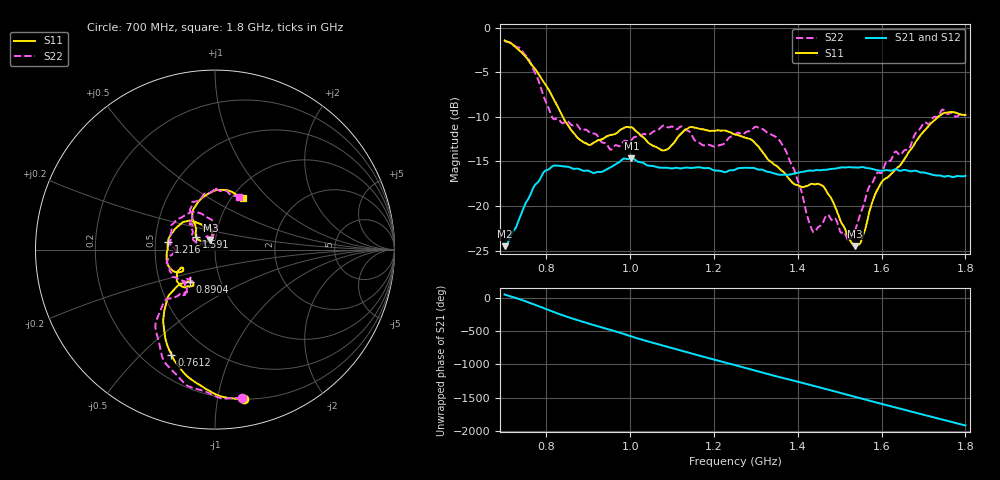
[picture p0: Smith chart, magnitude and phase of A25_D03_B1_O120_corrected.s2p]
! Created with skrf 1.9.0 (http://scikit-rf.org).
# Hz S RI R 50.0
!freq ReS11 ImS11 ReS21 ImS21 ReS12 ImS12 ReS22 ImS22
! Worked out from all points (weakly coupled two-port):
!   1601 points, 700 MHz to 1.8 GHz, reference 50 ohm
!   highest |S21| = -14.63 dB at 1.002 GHz (marker M1); lowest = -24.5 dB at 701.4 MHz (marker M2)
!   lowest |S11| = -24.5 dB at 1.537 GHz (marker M3), VSWR 1.13, Z = 47.2 + j5.08 ohm
!   |S11| at or under -10 dB: 838.8 MHz to 1.735 GHz (896.2 MHz wide, 69.6 % of centre)
!   |S22| runs from -23.9 to -1.5 dB; largest |S21 - S12| = 0.0035
!   S11 on the Smith chart (normalised r, x): 700 MHz: 0.20, -1.19; 761.2 MHz: 0.32, -0.62; 890.4 MHz: 0.71, -0.27; 1.216 GHz: 0.58, +0.05; 1.591 GHz: 0.80, +0.11; 1.8 GHz: 1.12, +0.72
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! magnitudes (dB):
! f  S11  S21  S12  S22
! 700 MHz  -1.4  -24.5  -24.3  -1.5
! 701.4 MHz  -1.5  -24.5  -24.1  -1.5
! 761.2 MHz  -3.9  -18.8  -18.7  -3.9
! 814.8 MHz  -7.8  -15.5  -15.6  -10.1
! 883.6 MHz  -12.7  -16.0  -15.9  -11.5
! 890.4 MHz  -12.9  -16.1  -16.0  -11.4
! 953 MHz  -12.0  -15.7  -15.7  -13.7
! 1.002 GHz  -11.2  -14.6  -14.7  -12.6
! 1.067 GHz  -13.5  -15.7  -15.6  -11.4
! 1.143 GHz  -11.1  -15.7  -15.7  -11.7
! 1.216 GHz  -11.5  -16.1  -16.1  -13.1
! 1.25 GHz  -12.0  -15.9  -15.9  -12.0
! 1.355 GHz  -15.8  -16.5  -16.4  -12.6
! 1.393 GHz  -17.6  -16.4  -16.3  -16.2
! 1.434 GHz  -17.5  -16.1  -16.0  -22.7
! 1.464 GHz  -18.0  -15.9  -15.9  -21.4
! 1.522 GHz  -23.6  -15.6  -15.7  -23.9
! 1.537 GHz  -24.5  -15.7  -15.7  -22.7
! 1.591 GHz  -18.1  -16.0  -16.0  -16.2
! 1.617 GHz  -16.7  -16.0  -16.0  -15.0
! 1.738 GHz  -9.9  -16.6  -16.6  -9.7
! 1.8 GHz  -9.8  -16.6  -16.6  -9.9
